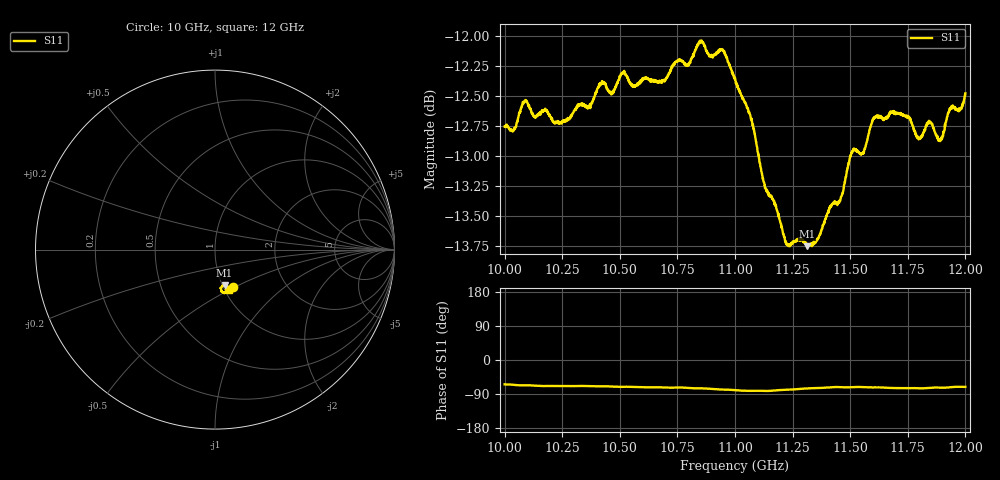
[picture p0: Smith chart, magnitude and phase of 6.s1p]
[Version] 2.0
! Rohde & Schwarz Vector Network Analyzer
! Rohde-Schwarz,ZNL20-2Port,1323001220200009,1.71.1.10-23.02.1.238
! Port Assignments:
! Nominal Port -> Actual Test Port
!  1 -> 1
! Created: GMT 2024-09-04 14:19:59
# Hz S DB R 50
[Number of Ports] 1
! freq[Hz]  S11[mag dB]  S11[ang]
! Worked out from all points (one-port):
!   2001 points, 10 GHz to 12 GHz, reference 50 ohm
!   lowest |S11| = -13.8 dB at 11.31 GHz (marker M1), VSWR 1.52, Z = 51.2 - j21.2 ohm
!   |S11| at or under -10 dB: start of sweep to end of sweep
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[Number of Frequencies] 28
[Network Data]
1e10  -12.76 -64.4
1.004e10  -12.79 -65.5
1.0089e10  -12.54 -66.7
1.025e10  -12.71 -68.8
1.0433e10  -12.40 -69.3
1.0465e10  -12.48 -70.2
1.05e10  -12.34 -70.9
1.0677e10  -12.38 -72.1
1.075e10  -12.22 -72.8
1.0796e10  -12.25 -73.6
1.0854e10  -12.05 -74.8
1.0949e10  -12.13 -78.0
1.1e10  -12.35 -79.5
1.107e10  -12.69 -81.4
1.114e10  -13.30 -81.7
1.1222e10  -13.74 -78.5
1.125e10  -13.72 -77.9
1.1313e10  -13.75 -74.9
1.1457e10  -13.37 -71.7
1.15e10  -13.00 -71.8
1.1557e10  -12.97 -71.7
1.1609e10  -12.67 -72.3
1.175e10  -12.68 -74.4
1.1795e10  -12.85 -74.5
1.1843e10  -12.72 -73.8
1.189e10  -12.87 -72.9
1.1933e10  -12.62 -72.0
1.2e10  -12.48 -70.9
[End]
